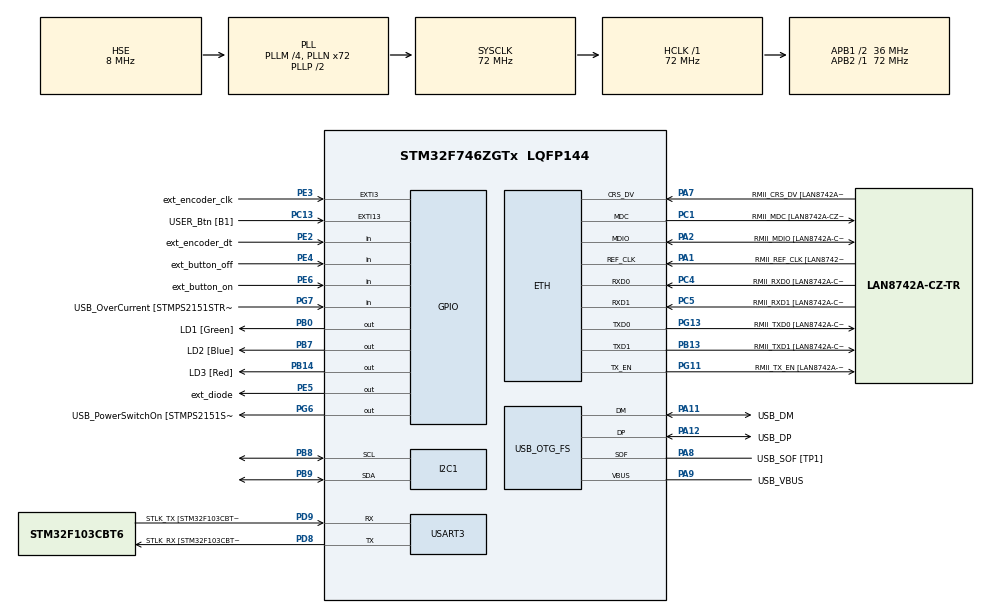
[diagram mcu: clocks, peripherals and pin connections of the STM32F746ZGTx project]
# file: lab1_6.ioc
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ETH.MediaInterface=HAL_ETH_RMII_MODE
ETH.PHY_Name=LAN8742A_PHY_ADDRESS
ETH.PHY_Value=0
ETH.PhyAddress=0
I2C1.Timing=0x00808CD2
Mcu.Family=STM32F7
Mcu.Name=STM32F746ZGTx
Mcu.Package=LQFP144
NVIC.EXTI3_IRQn=true\:7\:0\:true\:false\:true\:true\:true\:true
NVIC.PriorityGroup=NVIC_PRIORITYGROUP_4
NVIC.TIM3_IRQn=true\:12\:0\:true\:false\:true\:true\:true\:true
PA1.GPIO_Label=RMII_REF_CLK [LAN8742A-CZ-TR_REFCLK0]
PA1.Mode=RMII
PA1.Signal=ETH_REF_CLK
PA10.GPIO_Label=USB_ID
PA10.Signal=USB_OTG_FS_ID
PA11.GPIO_Label=USB_DM
PA11.Mode=Device_Only
PA11.Signal=USB_OTG_FS_DM
PA12.GPIO_Label=USB_DP
PA12.Mode=Device_Only
PA12.Signal=USB_OTG_FS_DP
PA13.GPIO_Label=TMS
PA13.Mode=Serial_Wire
PA13.Signal=SYS_JTMS-SWDIO
PA14.GPIO_Label=TCK
PA14.Mode=Serial_Wire
PA14.Signal=SYS_JTCK-SWCLK
PA2.GPIO_Label=RMII_MDIO [LAN8742A-CZ-TR_MDIO]
PA2.Mode=RMII
PA2.Signal=ETH_MDIO
PA7.GPIO_Label=RMII_CRS_DV [LAN8742A-CZ-TR_CRS_DV]
PA7.Mode=RMII
PA7.Signal=ETH_CRS_DV
PA8.GPIO_Label=USB_SOF [TP1]
PA8.Mode=Activate_SOF_FS
PA8.Signal=USB_OTG_FS_SOF
PA9.GPIO_Label=USB_VBUS
PA9.Mode=Activate_VBUS
PA9.Signal=USB_OTG_FS_VBUS
PB0.GPIO_Label=LD1 [Green]
PB0.Signal=GPIO_Output
PB13.GPIO_Label=RMII_TXD1 [LAN8742A-CZ-TR_TXD1]
PB13.Mode=RMII
PB13.Signal=ETH_TXD1
PB14.GPIO_Label=LD3 [Red]
PB14.Signal=GPIO_Output
PB3.GPIO_Label=SW0
PB3.Signal=SYS_JTDO-SWO
PB7.GPIO_Label=LD2 [Blue]
PB7.Signal=GPIO_Output
PB8.Mode=I2C
PB8.Signal=I2C1_SCL
PB9.Mode=I2C
PB9.Signal=I2C1_SDA
PC1.GPIO_Label=RMII_MDC [LAN8742A-CZ-TR_MDC]
PC1.Mode=RMII
PC1.Signal=ETH_MDC
PC13.GPIO_Label=USER_Btn [B1]
PC13.Signal=GPXTI13
PC14/OSC32_IN.Mode=LSE-External-Oscillator
PC14/OSC32_IN.Signal=RCC_OSC32_IN
PC15/OSC32_OUT.Mode=LSE-External-Oscillator
PC15/OSC32_OUT.Signal=RCC_OSC32_OUT
PC4.GPIO_Label=RMII_RXD0 [LAN8742A-CZ-TR_RXD0]
PC4.Mode=RMII
PC4.Signal=ETH_RXD0
PC5.GPIO_Label=RMII_RXD1 [LAN8742A-CZ-TR_RXD1]
PC5.Mode=RMII
PC5.Signal=ETH_RXD1
PD8.GPIO_Label=STLK_RX [STM32F103CBT6_PA3]
PD8.GPIO_PuPd=GPIO_PULLUP
PD8.Mode=Asynchronous
PD8.Signal=USART3_TX
PD9.GPIO_Label=STLK_TX [STM32F103CBT6_PA2]
PD9.GPIO_PuPd=GPIO_PULLUP
PD9.Mode=Asynchronous
PD9.Signal=USART3_RX
PE2.GPIO_Label=ext_encoder_dt
PE2.Signal=GPIO_Input
PE3.GPIO_Label=ext_encoder_clk
PE3.Signal=GPXTI3
PE4.GPIO_Label=ext_button_off
PE4.Signal=GPIO_Input
PE5.GPIO_Label=ext_diode
PE5.Signal=GPIO_Output
PE6.GPIO_Label=ext_button_on
PE6.Signal=GPIO_Input
PG11.GPIO_Label=RMII_TX_EN [LAN8742A-CZ-TR_TXEN]
PG11.Mode=RMII
PG11.Signal=ETH_TX_EN
PG13.GPIO_Label=RMII_TXD0 [LAN8742A-CZ-TR_TXD0]
PG13.Mode=RMII
PG13.Signal=ETH_TXD0
PG6.GPIO_Label=USB_PowerSwitchOn [STMPS2151STR_EN]
PG6.Signal=GPIO_Output
PG7.GPIO_Label=USB_OverCurrent [STMPS2151STR_FAULT]
PG7.Signal=GPIO_Input
PH0/OSC_IN.GPIO_Label=MCO [STM32F103CBT6_PA8]
PH0/OSC_IN.Mode=HSE-External-Clock-Source
PH0/OSC_IN.Signal=RCC_OSC_IN
PH1/OSC_OUT.Mode=HSE-External-Clock-Source
PH1/OSC_OUT.Signal=RCC_OSC_OUT
ProjectManager.HeapSize=0x200
ProjectManager.StackSize=0x400
ProjectManager.TargetToolchain=STM32CubeIDE
RCC.48MHZClocksFreq_Value=24000000
RCC.AHBFreq_Value=72000000
RCC.APB1CLKDivider=RCC_HCLK_DIV2
RCC.APB1Freq_Value=36000000
RCC.APB1TimFreq_Value=72000000
RCC.APB2Freq_Value=72000000
RCC.APB2TimFreq_Value=72000000
RCC.CortexFreq_Value=72000000
RCC.HCLKFreq_Value=72000000
RCC.HSE_VALUE=8000000
RCC.HSI_VALUE=16000000
RCC.PLLM=4
RCC.PLLMUL=RCC_PLL_MUL9
RCC.PLLN=72
RCC.PLLQ=3
RCC.PRESCALERUSB=RCC_USBCLKSOURCE_PLL_DIV1_5
RCC.SYSCLKFreq_VALUE=72000000
RCC.SYSCLKSource=RCC_SYSCLKSOURCE_PLLCLK
RCC.SYSCLKSourceVirtual=RCC_SYSCLKSOURCE_PLLCLK
RCC.USBFreq_Value=48000000
RCC.VCOOutputFreq_Value=144000000
TIM3.AutoReloadPreload=TIM_AUTORELOAD_PRELOAD_DISABLE
TIM3.Channel-Output\ Compare1\ No\ Output=TIM_CHANNEL_1
TIM3.Period=4999
TIM3.Prescaler=7199
TIM3.Pulse-Output\ Compare1\ No\ Output=4999
USART3.VirtualMode-Asynchronous=VM_ASYNC
USB_OTG_FS.VirtualMode=Device_Only
VP_TIM3_VS_ClockSourceINT.Mode=Internal
VP_TIM3_VS_no_output1.Mode=Output Compare1 No Output
board=NUCLEO-F746ZG

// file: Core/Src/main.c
/* USER CODE BEGIN Header */
/**
  ******************************************************************************
  * @file           : main.c
  * @brief          : Main program body
  ******************************************************************************
  * @attention
  *
  * Copyright (c) 2025 STMicroelectronics.
  * All rights reserved.
  *
  * This software is licensed under terms that can be found in the LICENSE file
  * in the root directory of this software component.
  * If no LICENSE file comes with this software, it is provided AS-IS.
  *
  ******************************************************************************
  */
/* USER CODE END Header */
#include "main.h"
#include "string.h"

/* USER CODE BEGIN Includes */
#include <stdbool.h>
/* USER CODE END Includes */

/* USER CODE BEGIN PD */
#define MAX_ARR 4999
#define MIN_ARR 10
/* USER CODE END PD */

#if defined ( __ICCARM__ ) /*!< IAR Compiler */
#pragma location=0x2004c000
ETH_DMADescTypeDef  DMARxDscrTab[ETH_RX_DESC_CNT]; /* Ethernet Rx DMA Descriptors */
#pragma location=0x2004c0a0
ETH_DMADescTypeDef  DMATxDscrTab[ETH_TX_DESC_CNT]; /* Ethernet Tx DMA Descriptors */

#elif defined ( __CC_ARM )  /* MDK ARM Compiler */

__attribute__((at(0x2004c000))) ETH_DMADescTypeDef  DMARxDscrTab[ETH_RX_DESC_CNT]; /* Ethernet Rx DMA Descriptors */
__attribute__((at(0x2004c0a0))) ETH_DMADescTypeDef  DMATxDscrTab[ETH_TX_DESC_CNT]; /* Ethernet Tx DMA Descriptors */

#elif defined ( __GNUC__ ) /* GNU Compiler */

ETH_DMADescTypeDef DMARxDscrTab[ETH_RX_DESC_CNT] __attribute__((section(".RxDecripSection"))); /* Ethernet Rx DMA Descriptors */
ETH_DMADescTypeDef DMATxDscrTab[ETH_TX_DESC_CNT] __attribute__((section(".TxDecripSection")));   /* Ethernet Tx DMA Descriptors */
#endif

ETH_TxPacketConfig TxConfig;

ETH_HandleTypeDef heth;

I2C_HandleTypeDef hi2c1;

TIM_HandleTypeDef htim3;

UART_HandleTypeDef huart3;

PCD_HandleTypeDef hpcd_USB_OTG_FS;

void SystemClock_Config(void);
static void MX_GPIO_Init(void);
static void MX_ETH_Init(void);
static void MX_I2C1_Init(void);
static void MX_USART3_UART_Init(void);
static void MX_USB_OTG_FS_PCD_Init(void);
static void MX_TIM3_Init(void);

/* USER CODE BEGIN 0 */
volatile int32_t counter = 0;
volatile bool led_on;

void HAL_GPIO_EXTI_Callback(uint16_t GPIO_Pin)
{
    if (GPIO_Pin == ext_encoder_clk_Pin)
    {
         counter = __HAL_TIM_GET_AUTORELOAD(&htim3);

        if(HAL_GPIO_ReadPin(ext_encoder_dt_GPIO_Port, ext_encoder_dt_Pin) == GPIO_PIN_RESET)
            counter = (counter + 500 < MAX_ARR) ? counter + 500 : MAX_ARR;
        else
            counter = (counter - 500 > MIN_ARR) ? counter - 500 : MIN_ARR;

        __HAL_TIM_SET_AUTORELOAD(&htim3, counter);
        __HAL_TIM_SET_COUNTER(&htim3, 0);
    }
}
void HAL_TIM_PeriodElapsedCallback(TIM_HandleTypeDef *htim)
	{
	  if (htim == &htim3 && led_on) {
	    HAL_GPIO_TogglePin(ext_diode_GPIO_Port, ext_diode_Pin);
	  }
	  else if(!led_on)
		  HAL_GPIO_WritePin(ext_diode_GPIO_Port, ext_diode_Pin, GPIO_PIN_SET);
	}

/* USER CODE END 0 */

int main(void)
{

  /* MCU Configuration--------------------------------------------------------*/

  /* Reset of all peripherals, Initializes the Flash interface and the Systick. */
  HAL_Init();

  /* Configure the system clock */
  SystemClock_Config();

  /* Initialize all configured peripherals */
  MX_GPIO_Init();
  MX_ETH_Init();
  MX_I2C1_Init();
  MX_USART3_UART_Init();
  MX_USB_OTG_FS_PCD_Init();
  MX_TIM3_Init();
  /* USER CODE BEGIN 2 */

  typedef struct{
      	 GPIO_TypeDef* port;
      	 uint16_t pin;
        }pin_t;

        typedef struct{
      	  pin_t gpio;
      	  uint8_t prev_state;
      	  uint8_t pressed;
        }Button;

        Button buttonON = {{ext_button_on_GPIO_Port, ext_button_on_Pin}, 0, 0};
        Button buttonOFF = {{ext_button_off_GPIO_Port, ext_button_off_Pin}, 0, 0};
        pin_t LED1 = {ext_diode_GPIO_Port, ext_diode_Pin};

        bool key_pooling(Button* btn, bool normal_open)
        {
              uint8_t curr_state = HAL_GPIO_ReadPin(btn->gpio.port, btn->gpio.pin);

              if (btn->prev_state == !normal_open && curr_state == normal_open)
              {
                  btn->pressed = normal_open;
                  btn->prev_state = curr_state;
                  return true;
              }

              btn->prev_state = curr_state;
              btn->pressed = !normal_open;
              return false;
       }

       void handle_led_buttons(Button* btn_on,  bool btn_on_normal_open, Button* btn_off, bool btn_off_normal_open, pin_t led, volatile bool* turn_on)
       {
      	 if(key_pooling(btn_on, btn_on_normal_open))
      	 {
      		 *turn_on = true; //changed

      	 }
      	 if(key_pooling(btn_off, btn_off_normal_open))
      	 {
      		*turn_on = false; //changed

      	 }
       }

      HAL_TIM_Base_Start_IT(&htim3); //added
  /* USER CODE END 2 */

  /* Infinite loop */
  /* USER CODE BEGIN WHILE */
  while (1)
  {
	  handle_led_buttons(&buttonON, false, &buttonOFF, true, LED1, &led_on);
	  HAL_Delay(0);
    /* USER CODE END WHILE */

  }
}

void SystemClock_Config(void)
{
  RCC_OscInitTypeDef RCC_OscInitStruct = {0};
  RCC_ClkInitTypeDef RCC_ClkInitStruct = {0};

  /** Configure LSE Drive Capability
  */
  HAL_PWR_EnableBkUpAccess();

  /** Configure the main internal regulator output voltage
  */
  __HAL_RCC_PWR_CLK_ENABLE();
  __HAL_PWR_VOLTAGESCALING_CONFIG(PWR_REGULATOR_VOLTAGE_SCALE3);

  /** Initializes the RCC Oscillators according to the specified parameters
  * in the RCC_OscInitTypeDef structure.
  */
  RCC_OscInitStruct.OscillatorType = RCC_OSCILLATORTYPE_HSE;
  RCC_OscInitStruct.HSEState = RCC_HSE_BYPASS;
  RCC_OscInitStruct.PLL.PLLState = RCC_PLL_ON;
  RCC_OscInitStruct.PLL.PLLSource = RCC_PLLSOURCE_HSE;
  RCC_OscInitStruct.PLL.PLLM = 4;
  RCC_OscInitStruct.PLL.PLLN = 72;
  RCC_OscInitStruct.PLL.PLLP = RCC_PLLP_DIV2;
  RCC_OscInitStruct.PLL.PLLQ = 3;
  if (HAL_RCC_OscConfig(&RCC_OscInitStruct) != HAL_OK)
  {
    Error_Handler();
  }

  /** Initializes the CPU, AHB and APB buses clocks
  */
  RCC_ClkInitStruct.ClockType = RCC_CLOCKTYPE_HCLK|RCC_CLOCKTYPE_SYSCLK
                              |RCC_CLOCKTYPE_PCLK1|RCC_CLOCKTYPE_PCLK2;
  RCC_ClkInitStruct.SYSCLKSource = RCC_SYSCLKSOURCE_PLLCLK;
  RCC_ClkInitStruct.AHBCLKDivider = RCC_SYSCLK_DIV1;
  RCC_ClkInitStruct.APB1CLKDivider = RCC_HCLK_DIV2;
  RCC_ClkInitStruct.APB2CLKDivider = RCC_HCLK_DIV1;

  if (HAL_RCC_ClockConfig(&RCC_ClkInitStruct, FLASH_LATENCY_2) != HAL_OK)
  {
    Error_Handler();
  }
}

static void MX_ETH_Init(void)
{

   static uint8_t MACAddr[6];

  heth.Instance = ETH;
  MACAddr[0] = 0x00;
  MACAddr[1] = 0x80;
  MACAddr[2] = 0xE1;
  MACAddr[3] = 0x00;
  MACAddr[4] = 0x00;
  MACAddr[5] = 0x00;
  heth.Init.MACAddr = &MACAddr[0];
  heth.Init.MediaInterface = HAL_ETH_RMII_MODE;
  heth.Init.TxDesc = DMATxDscrTab;
  heth.Init.RxDesc = DMARxDscrTab;
  heth.Init.RxBuffLen = 1524;

  if (HAL_ETH_Init(&heth) != HAL_OK)
  {
    Error_Handler();
  }

  memset(&TxConfig, 0 , sizeof(ETH_TxPacketConfig));
  TxConfig.Attributes = ETH_TX_PACKETS_FEATURES_CSUM | ETH_TX_PACKETS_FEATURES_CRCPAD;
  TxConfig.ChecksumCtrl = ETH_CHECKSUM_IPHDR_PAYLOAD_INSERT_PHDR_CALC;
  TxConfig.CRCPadCtrl = ETH_CRC_PAD_INSERT;

}

static void MX_I2C1_Init(void)
{

  hi2c1.Instance = I2C1;
  hi2c1.Init.Timing = 0x00808CD2;
  hi2c1.Init.OwnAddress1 = 0;
  hi2c1.Init.AddressingMode = I2C_ADDRESSINGMODE_7BIT;
  hi2c1.Init.DualAddressMode = I2C_DUALADDRESS_DISABLE;
  hi2c1.Init.OwnAddress2 = 0;
  hi2c1.Init.OwnAddress2Masks = I2C_OA2_NOMASK;
  hi2c1.Init.GeneralCallMode = I2C_GENERALCALL_DISABLE;
  hi2c1.Init.NoStretchMode = I2C_NOSTRETCH_DISABLE;
  if (HAL_I2C_Init(&hi2c1) != HAL_OK)
  {
    Error_Handler();
  }

  /** Configure Analogue filter
  */
  if (HAL_I2CEx_ConfigAnalogFilter(&hi2c1, I2C_ANALOGFILTER_ENABLE) != HAL_OK)
  {
    Error_Handler();
  }

  /** Configure Digital filter
  */
  if (HAL_I2CEx_ConfigDigitalFilter(&hi2c1, 0) != HAL_OK)
  {
    Error_Handler();
  }

}

static void MX_TIM3_Init(void)
{

  TIM_ClockConfigTypeDef sClockSourceConfig = {0};
  TIM_MasterConfigTypeDef sMasterConfig = {0};
  TIM_OC_InitTypeDef sConfigOC = {0};

  htim3.Instance = TIM3;
  htim3.Init.Prescaler = 7199;
  htim3.Init.CounterMode = TIM_COUNTERMODE_UP;
  htim3.Init.Period = 4999;
  htim3.Init.ClockDivision = TIM_CLOCKDIVISION_DIV1;
  htim3.Init.AutoReloadPreload = TIM_AUTORELOAD_PRELOAD_DISABLE;
  if (HAL_TIM_Base_Init(&htim3) != HAL_OK)
  {
    Error_Handler();
  }
  sClockSourceConfig.ClockSource = TIM_CLOCKSOURCE_INTERNAL;
  if (HAL_TIM_ConfigClockSource(&htim3, &sClockSourceConfig) != HAL_OK)
  {
    Error_Handler();
  }
  if (HAL_TIM_OC_Init(&htim3) != HAL_OK)
  {
    Error_Handler();
  }
  sMasterConfig.MasterOutputTrigger = TIM_TRGO_RESET;
  sMasterConfig.MasterSlaveMode = TIM_MASTERSLAVEMODE_DISABLE;
  if (HAL_TIMEx_MasterConfigSynchronization(&htim3, &sMasterConfig) != HAL_OK)
  {
    Error_Handler();
  }
  sConfigOC.OCMode = TIM_OCMODE_TIMING;
  sConfigOC.Pulse = 4999;
  sConfigOC.OCPolarity = TIM_OCPOLARITY_HIGH;
  sConfigOC.OCFastMode = TIM_OCFAST_DISABLE;
  if (HAL_TIM_OC_ConfigChannel(&htim3, &sConfigOC, TIM_CHANNEL_1) != HAL_OK)
  {
    Error_Handler();
  }

}

static void MX_USART3_UART_Init(void)
{

  huart3.Instance = USART3;
  huart3.Init.BaudRate = 115200;
  huart3.Init.WordLength = UART_WORDLENGTH_8B;
  huart3.Init.StopBits = UART_STOPBITS_1;
  huart3.Init.Parity = UART_PARITY_NONE;
  huart3.Init.Mode = UART_MODE_TX_RX;
  huart3.Init.HwFlowCtl = UART_HWCONTROL_NONE;
  huart3.Init.OverSampling = UART_OVERSAMPLING_16;
  huart3.Init.OneBitSampling = UART_ONE_BIT_SAMPLE_DISABLE;
  huart3.AdvancedInit.AdvFeatureInit = UART_ADVFEATURE_NO_INIT;
  if (HAL_UART_Init(&huart3) != HAL_OK)
  {
    Error_Handler();
  }

}

static void MX_USB_OTG_FS_PCD_Init(void)
{

  hpcd_USB_OTG_FS.Instance = USB_OTG_FS;
  hpcd_USB_OTG_FS.Init.dev_endpoints = 6;
  hpcd_USB_OTG_FS.Init.speed = PCD_SPEED_FULL;
  hpcd_USB_OTG_FS.Init.dma_enable = DISABLE;
  hpcd_USB_OTG_FS.Init.phy_itface = PCD_PHY_EMBEDDED;
  hpcd_USB_OTG_FS.Init.Sof_enable = ENABLE;
  hpcd_USB_OTG_FS.Init.low_power_enable = DISABLE;
  hpcd_USB_OTG_FS.Init.lpm_enable = DISABLE;
  hpcd_USB_OTG_FS.Init.vbus_sensing_enable = ENABLE;
  hpcd_USB_OTG_FS.Init.use_dedicated_ep1 = DISABLE;
  if (HAL_PCD_Init(&hpcd_USB_OTG_FS) != HAL_OK)
  {
    Error_Handler();
  }

}

static void MX_GPIO_Init(void)
{
  GPIO_InitTypeDef GPIO_InitStruct = {0};

  /* GPIO Ports Clock Enable */
  __HAL_RCC_GPIOE_CLK_ENABLE();
  __HAL_RCC_GPIOC_CLK_ENABLE();
  __HAL_RCC_GPIOH_CLK_ENABLE();
  __HAL_RCC_GPIOA_CLK_ENABLE();
  __HAL_RCC_GPIOB_CLK_ENABLE();
  __HAL_RCC_GPIOD_CLK_ENABLE();
  __HAL_RCC_GPIOG_CLK_ENABLE();

  /*Configure GPIO pin Output Level */
  HAL_GPIO_WritePin(ext_diode_GPIO_Port, ext_diode_Pin, GPIO_PIN_RESET);

  /*Configure GPIO pin Output Level */
  HAL_GPIO_WritePin(GPIOB, LD1_Pin|LD3_Pin|LD2_Pin, GPIO_PIN_RESET);

  /*Configure GPIO pin Output Level */
  HAL_GPIO_WritePin(USB_PowerSwitchOn_GPIO_Port, USB_PowerSwitchOn_Pin, GPIO_PIN_RESET);

  /*Configure GPIO pins : ext_encoder_dt_Pin ext_button_off_Pin ext_button_on_Pin */
  GPIO_InitStruct.Pin = ext_encoder_dt_Pin|ext_button_off_Pin|ext_button_on_Pin;
  GPIO_InitStruct.Mode = GPIO_MODE_INPUT;
  GPIO_InitStruct.Pull = GPIO_NOPULL;
  HAL_GPIO_Init(GPIOE, &GPIO_InitStruct);

  /*Configure GPIO pin : ext_encoder_clk_Pin */
  GPIO_InitStruct.Pin = ext_encoder_clk_Pin;
  GPIO_InitStruct.Mode = GPIO_MODE_IT_RISING;
  GPIO_InitStruct.Pull = GPIO_NOPULL;
  HAL_GPIO_Init(ext_encoder_clk_GPIO_Port, &GPIO_InitStruct);

  /*Configure GPIO pin : ext_diode_Pin */
  GPIO_InitStruct.Pin = ext_diode_Pin;
  GPIO_InitStruct.Mode = GPIO_MODE_OUTPUT_PP;
  GPIO_InitStruct.Pull = GPIO_NOPULL;
  GPIO_InitStruct.Speed = GPIO_SPEED_FREQ_LOW;
  HAL_GPIO_Init(ext_diode_GPIO_Port, &GPIO_InitStruct);

  /*Configure GPIO pin : USER_Btn_Pin */
  GPIO_InitStruct.Pin = USER_Btn_Pin;
  GPIO_InitStruct.Mode = GPIO_MODE_IT_RISING;
  GPIO_InitStruct.Pull = GPIO_NOPULL;
  HAL_GPIO_Init(USER_Btn_GPIO_Port, &GPIO_InitStruct);

  /*Configure GPIO pins : LD1_Pin LD3_Pin LD2_Pin */
  GPIO_InitStruct.Pin = LD1_Pin|LD3_Pin|LD2_Pin;
  GPIO_InitStruct.Mode = GPIO_MODE_OUTPUT_PP;
  GPIO_InitStruct.Pull = GPIO_NOPULL;
  GPIO_InitStruct.Speed = GPIO_SPEED_FREQ_LOW;
  HAL_GPIO_Init(GPIOB, &GPIO_InitStruct);

  /*Configure GPIO pin : USB_PowerSwitchOn_Pin */
  GPIO_InitStruct.Pin = USB_PowerSwitchOn_Pin;
  GPIO_InitStruct.Mode = GPIO_MODE_OUTPUT_PP;
  GPIO_InitStruct.Pull = GPIO_NOPULL;
  GPIO_InitStruct.Speed = GPIO_SPEED_FREQ_LOW;
  HAL_GPIO_Init(USB_PowerSwitchOn_GPIO_Port, &GPIO_InitStruct);

  /*Configure GPIO pin : USB_OverCurrent_Pin */
  GPIO_InitStruct.Pin = USB_OverCurrent_Pin;
  GPIO_InitStruct.Mode = GPIO_MODE_INPUT;
  GPIO_InitStruct.Pull = GPIO_NOPULL;
  HAL_GPIO_Init(USB_OverCurrent_GPIO_Port, &GPIO_InitStruct);

  /* EXTI interrupt init*/
  HAL_NVIC_SetPriority(EXTI3_IRQn, 7, 0);
  HAL_NVIC_EnableIRQ(EXTI3_IRQn);

}

void Error_Handler(void)
{
  __disable_irq();
  while (1)
  {
  }
}
